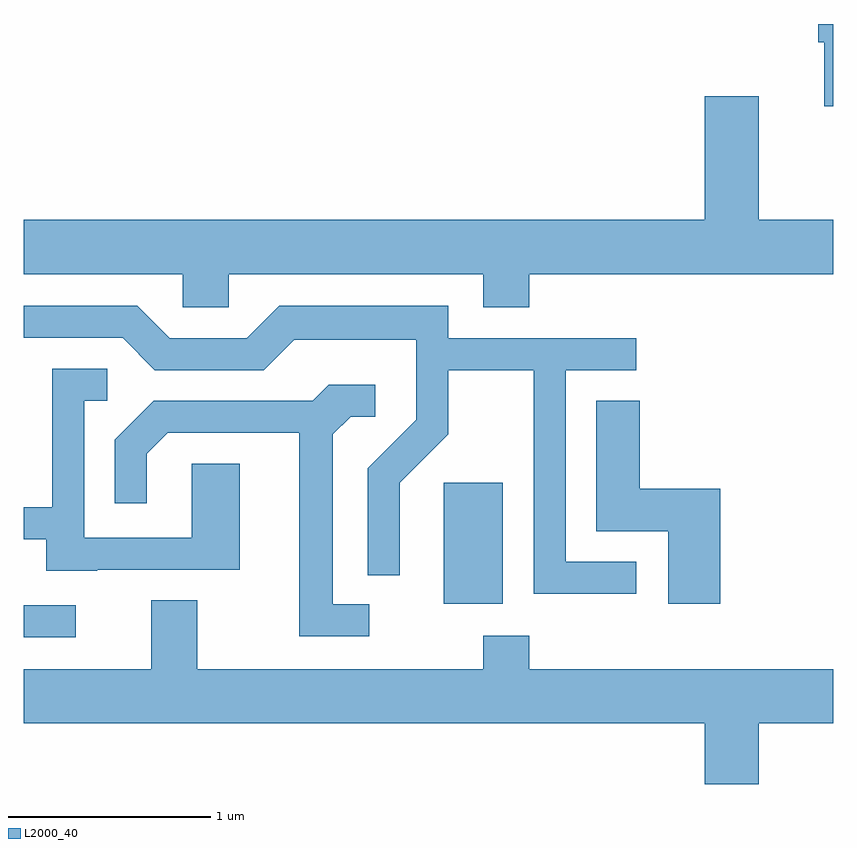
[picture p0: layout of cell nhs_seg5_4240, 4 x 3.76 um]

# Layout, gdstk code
import gdstk
lib = gdstk.Library(unit=1e-6, precision=1e-09)
def R(c, l, rs):  # rectangles x0, y0, x1, y1
    for r in rs: c.add(gdstk.rectangle(r[:2], r[2:], *l))
def P(c, l, *ps):  # polygons
    for p in ps: c.add(gdstk.Polygon(p, *l))
L2000_40 = (2000, 40)

nhs_seg5_4240 = lib.new_cell('nhs_seg5_4240')
R(nhs_seg5_4240, L2000_40, [(311.611,1415.041,311.868,1415.199), (313.686,1415.206,313.979,1415.804)])
P(nhs_seg5_4240, L2000_40, [(315.611,1418.072),(315.536,1418.072),(315.536,1417.981),(315.566,1417.981),(315.566,1417.666),(315.611,1417.666)],
  [(312.624,1416.836),(313.881,1416.836),(313.881,1416.671),(314.109,1416.671),(314.109,1416.836),(315.611,1416.836),(315.611,1417.104),(315.244,1417.104),(315.244,1417.714),(314.976,1417.714),(314.976,1417.104),(311.611,1417.104),(311.611,1416.836),(312.396,1416.836),(312.396,1416.671),(312.624,1416.671)],
  [(314.638,1415.414),(314.289,1415.414),(314.289,1416.361),(314.638,1416.361),(314.638,1416.519),(313.709,1416.519),(313.709,1416.679),(312.874,1416.679),(312.714,1416.519),(312.332,1416.519),(312.172,1416.679),(311.611,1416.679),(311.611,1416.521),(312.099,1416.521),(312.259,1416.361),(312.797,1416.361),(312.947,1416.511),(313.551,1416.511),(313.551,1416.117),(313.311,1415.877),(313.311,1415.348),(313.469,1415.348),(313.469,1415.804),(313.709,1416.044),(313.709,1416.361),(314.131,1416.361),(314.131,1415.256),(314.638,1415.256)],
  [(311.975,1415.376),(312.679,1415.376),(312.679,1415.899),(312.441,1415.899),(312.441,1415.534),(311.909,1415.534),(311.909,1416.211),(312.023,1416.211),(312.023,1416.369),(311.751,1416.369),(311.751,1415.684),(311.611,1415.684),(311.611,1415.526),(311.721,1415.526),(311.721,1415.371),(311.975,1415.371)],
  [(313.318,1415.204),(313.139,1415.204),(313.139,1416.044),(313.227,1416.131),(313.348,1416.131),(313.348,1416.289),(313.119,1416.289),(313.039,1416.209),(312.254,1416.209),(312.061,1416.017),(312.061,1415.703),(312.219,1415.703),(312.219,1415.949),(312.322,1416.051),(312.971,1416.051),(312.971,1415.046),(313.318,1415.046)],
  [(315.054,1415.774),(314.654,1415.774),(314.654,1416.209),(314.441,1416.209),(314.441,1415.566),(314.796,1415.566),(314.796,1415.206),(315.054,1415.206)],
  [(315.244,1414.616),(315.611,1414.616),(315.611,1414.884),(314.109,1414.884),(314.109,1415.049),(313.881,1415.049),(313.881,1414.884),(312.469,1414.884),(312.469,1415.224),(312.241,1415.224),(312.241,1414.884),(311.611,1414.884),(311.611,1414.616),(314.976,1414.616),(314.976,1414.316),(315.244,1414.316)])

lib.write_gds('nhs_seg5_4240.gds')
